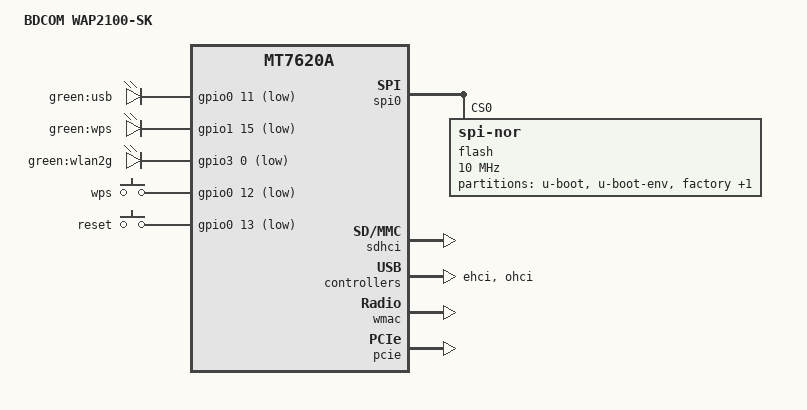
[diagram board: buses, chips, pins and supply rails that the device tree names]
// SPDX-License-Identifier: GPL-2.0-or-later OR MIT

#include "mt7620a.dtsi"

#include <dt-bindings/gpio/gpio.h>
#include <dt-bindings/input/input.h>

/ {
	compatible = "bdcom,wap2100-sk", "ralink,mt7620a-soc";
	model = "BDCOM WAP2100-SK";

	aliases {
		led-boot = &led_power;
		led-failsafe = &led_power;
	};

	chosen {
		bootargs = "console=ttyS0,115200";
	};

	leds {
		compatible = "gpio-leds";

		usb {
			label = "green:usb";
			gpios = <&gpio0 11 GPIO_ACTIVE_LOW>;
			trigger-sources = <&ohci_port1>, <&ehci_port1>;
			linux,default-trigger = "usbport";
		};

		led_power: wps {
			label = "green:wps";
			gpios = <&gpio1 15 GPIO_ACTIVE_LOW>;
		};

		wlan2g {
			label = "green:wlan2g";
			gpios = <&gpio3 0 GPIO_ACTIVE_LOW>;
		};
	};

	keys {
		compatible = "gpio-keys";

		wps {
			label = "wps";
			gpios = <&gpio0 12 GPIO_ACTIVE_LOW>;
			linux,code = <KEY_WPS_BUTTON>;
		};

		reset {
			label = "reset";
			gpios = <&gpio0 13 GPIO_ACTIVE_LOW>;
			linux,code = <KEY_RESTART>;
		};
	};
};

&spi0 {
	status = "okay";

	flash@0 {
		compatible = "jedec,spi-nor";
		reg = <0>;
		spi-max-frequency = <10000000>;

		partitions {
			compatible = "fixed-partitions";
			#address-cells = <1>;
			#size-cells = <1>;

			partition@0 {
				label = "u-boot";
				reg = <0x0 0x30000>;
				read-only;
			};

			partition@30000 {
				label = "u-boot-env";
				reg = <0x30000 0x10000>;
				read-only;
			};

			factory: partition@40000 {
				compatible = "nvmem-cells";
				label = "factory";
				reg = <0x40000 0x10000>;
				#address-cells = <1>;
				#size-cells = <1>;
				read-only;

				eeprom_factory_0: eeprom@0 {
					reg = <0x0 0x200>;
				};

				eeprom_factory_8000: eeprom@8000 {
					reg = <0x8000 0x200>;
				};

				macaddr_factory_4: macaddr@4 {
					reg = <0x4 0x6>;
				};
			};

			partition@50000 {
				compatible = "denx,uimage";
				label = "firmware";
				reg = <0x50000 0xf70000>;
			};
		};
	};
};

&gpio1 {
	status = "okay";
};

&gpio3 {
	status = "okay";
};

&sdhci {
	status = "okay";
};

&ehci {
	status = "okay";
};

&ohci {
	status = "okay";
};

&ethernet {
	nvmem-cells = <&macaddr_factory_4>;
	nvmem-cell-names = "mac-address";

	mediatek,portmap = "wllll";
};

&wmac {
	nvmem-cells = <&eeprom_factory_0>;
	nvmem-cell-names = "eeprom";
};

&pcie {
	status = "okay";
};

&pcie0 {
	wifi@0,0 {
		reg = <0x0000 0 0 0 0>;
		nvmem-cells = <&eeprom_factory_8000>;
		nvmem-cell-names = "eeprom";
		ieee80211-freq-limit = <5000000 6000000>;
	};
};

&state_default {
	default {
		groups = "spi refclk", "uartf", "wled";
		function = "gpio";
	};
};
